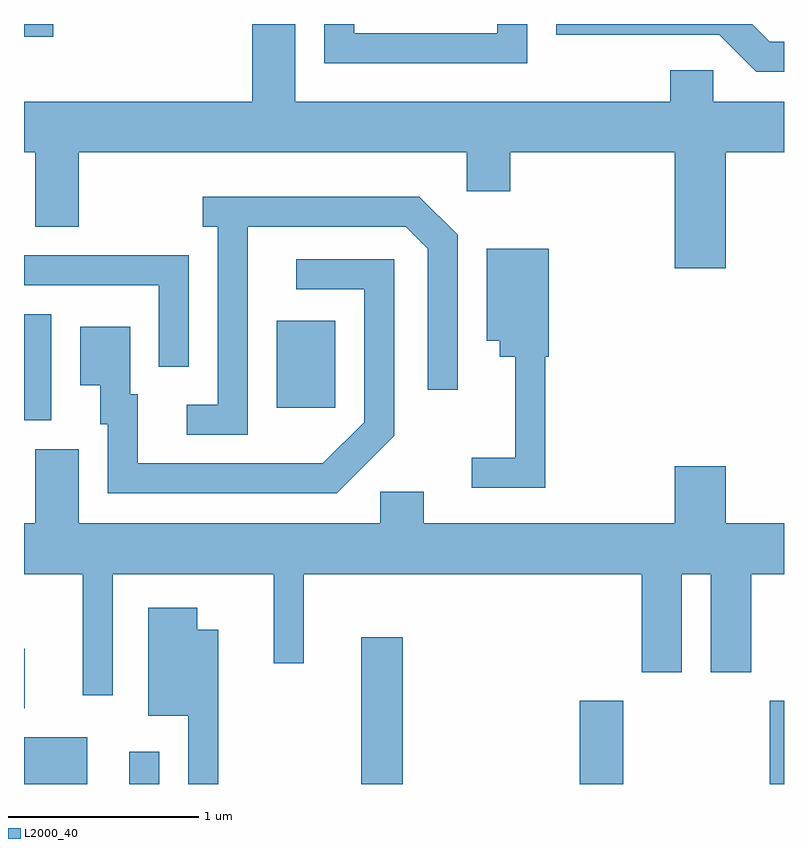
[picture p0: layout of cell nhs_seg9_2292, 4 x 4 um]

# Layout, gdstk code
import gdstk
lib = gdstk.Library(unit=1e-6, precision=1e-09)
def R(c, l, rs):  # rectangles x0, y0, x1, y1
    for r in rs: c.add(gdstk.rectangle(r[:2], r[2:], *l))
def P(c, l, *ps):  # polygons
    for p in ps: c.add(gdstk.Polygon(p, *l))
L2000_40 = (2000, 40)

nhs_seg9_2292 = lib.new_cell('nhs_seg9_2292')
R(nhs_seg9_2292, L2000_40, [(251.611,2048.432,251.944,2048.679), (252.166,2048.432,252.324,2048.603), (253.386,2048.432,253.604,2049.204), (254.536,2048.432,254.764,2048.869), (255.536,2048.432,255.611,2048.869), (251.611,2048.831,251.614,2049.143), (251.611,2050.346,251.754,2050.904), (252.941,2050.411,253.249,2050.869), (251.611,2052.366,251.764,2052.432)])
P(nhs_seg9_2292, L2000_40, [(255.304,2051.756),(255.611,2051.756),(255.611,2052.024),(255.239,2052.024),(255.239,2052.189),(255.011,2052.189),(255.011,2052.024),(253.039,2052.024),(253.039,2052.432),(252.811,2052.432),(252.811,2052.024),(251.611,2052.024),(251.611,2051.756),(251.671,2051.756),(251.671,2051.366),(251.899,2051.366),(251.899,2051.756),(253.941,2051.756),(253.941,2051.551),(254.169,2051.551),(254.169,2051.756),(255.036,2051.756),(255.036,2051.146),(255.304,2051.146)],
  [(255.611,2052.339),(255.537,2052.339),(255.444,2052.432),(254.411,2052.432),(254.411,2052.376),(255.269,2052.376),(255.464,2052.181),(255.611,2052.181)],
  [(254.259,2052.432),(254.101,2052.432),(254.101,2052.384),(253.349,2052.384),(253.349,2052.432),(253.191,2052.432),(253.191,2052.226),(254.259,2052.226)],
  [(252.789,2051.366),(253.619,2051.366),(253.736,2051.249),(253.736,2050.508),(253.894,2050.508),(253.894,2051.322),(253.692,2051.524),(252.553,2051.524),(252.553,2051.366),(252.631,2051.366),(252.631,2050.429),(252.468,2050.429),(252.468,2050.271),(252.789,2050.271)],
  [(254.354,2050.681),(254.374,2050.681),(254.374,2051.249),(254.046,2051.249),(254.046,2050.766),(254.116,2050.766),(254.116,2050.681),(254.196,2050.681),(254.196,2050.149),(253.968,2050.149),(253.968,2049.991),(254.354,2049.991)],
  [(252.479,2051.214),(251.611,2051.214),(251.611,2051.056),(252.321,2051.056),(252.321,2050.628),(252.479,2050.628)],
  [(253.559,2050.264),(253.559,2051.194),(253.043,2051.194),(253.043,2051.036),(253.401,2051.036),(253.401,2050.337),(253.184,2050.119),(252.209,2050.119),(252.209,2050.484),(252.169,2050.484),(252.169,2050.839),(251.906,2050.839),(251.906,2050.531),(252.011,2050.531),(252.011,2050.326),(252.051,2050.326),(252.051,2049.961),(253.257,2049.961)],
  [(251.921,2048.898),(252.079,2048.898),(252.079,2049.536),(252.926,2049.536),(252.926,2049.068),(253.084,2049.068),(253.084,2049.536),(254.861,2049.536),(254.861,2049.021),(255.074,2049.021),(255.074,2049.536),(255.226,2049.536),(255.226,2049.021),(255.439,2049.021),(255.439,2049.536),(255.611,2049.536),(255.611,2049.804),(255.304,2049.804),(255.304,2050.104),(255.036,2050.104),(255.036,2049.804),(253.714,2049.804),(253.714,2049.969),(253.486,2049.969),(253.486,2049.804),(251.899,2049.804),(251.899,2050.194),(251.671,2050.194),(251.671,2049.804),(251.611,2049.804),(251.611,2049.536),(251.921,2049.536)],
  [(252.634,2049.244),(252.524,2049.244),(252.524,2049.359),(252.266,2049.359),(252.266,2048.791),(252.476,2048.791),(252.476,2048.432),(252.634,2048.432)])

lib.write_gds('nhs_seg9_2292.gds')
